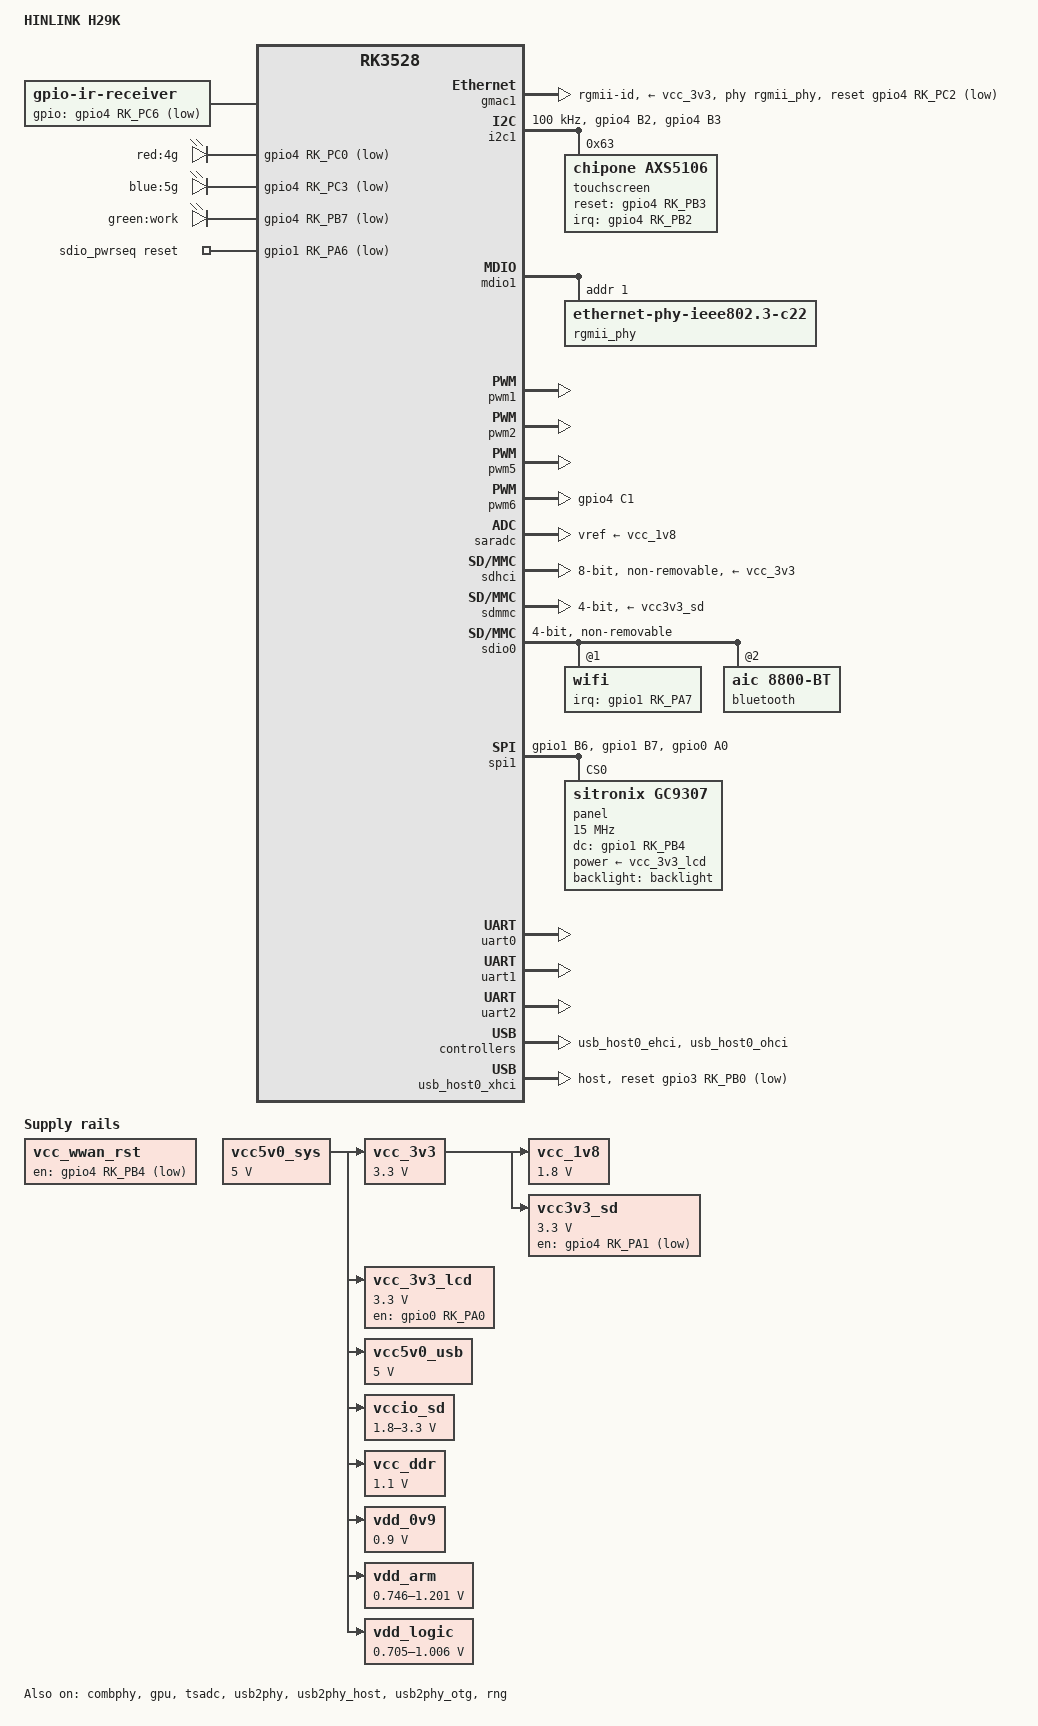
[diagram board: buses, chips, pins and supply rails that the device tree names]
// SPDX-License-Identifier: (GPL-2.0+ OR MIT)

/dts-v1/;
#include <dt-bindings/gpio/gpio.h>
#include <dt-bindings/pinctrl/rockchip.h>

#include "rk3528.dtsi"

/ {
	model = "HINLINK H29K";
	compatible = "hinlink,h29k", "rockchip,rk3528";

	aliases {
		mmc0 = &sdhci;
		mmc1 = &sdmmc;
		mmc2 = &sdio0;
		serial0 = &uart0;
		serial1 = &uart1;
		serial2 = &uart2;
		ethernet0 = &gmac1;

		led-boot = &led_work;
		led-failsafe = &led_work;
		led-running = &led_work;
		led-upgrade = &led_work;
	};

	chosen {
		stdout-path = "serial0:1500000n8";
	};

	ir-receiver {
		compatible = "gpio-ir-receiver";
		gpios = <&gpio4 RK_PC6 GPIO_ACTIVE_LOW>;
		pinctrl-names = "default";
		pinctrl-0 = <&ir_int_pin>;
	};

	leds {
		compatible = "gpio-leds";
		pinctrl-names = "default";
		pinctrl-0 = <&led_4g_en>, <&led_5g_en>, <&led_work_en>;

		4g {
			label = "red:4g";
			gpios = <&gpio4 RK_PC0 GPIO_ACTIVE_LOW>;
		};

		5g {
			label = "blue:5g";
			gpios = <&gpio4 RK_PC3 GPIO_ACTIVE_LOW>;
		};

		led_work: work {
			label = "green:work";
			gpios = <&gpio4 RK_PB7 GPIO_ACTIVE_LOW>;
		};
	};

	sdio_pwrseq: sdio-pwrseq {
		compatible = "mmc-pwrseq-simple";
		pinctrl-names = "default";
		pinctrl-0 = <&wifi_reg_on>;
		post-power-on-delay-ms = <100>;
		power-off-delay-us = <5000000>;
		reset-gpios = <&gpio1 RK_PA6 GPIO_ACTIVE_LOW>;
	};

	rng: rng@ffc50000 {
		compatible = "rockchip,rkrng";
		reg = <0x0 0xffc50000 0x0 0x200>;
		clocks = <&cru HCLK_TRNG_NS>;
		clock-names = "hclk_trng";
		interrupts = <GIC_SPI 23 IRQ_TYPE_LEVEL_HIGH>;
		resets = <&cru SRST_H_TRNG_NS>;
		reset-names = "reset";
		status = "okay";
	};

	vcc_wwan_rst: regulator-wwan-rst {
		compatible = "regulator-fixed";
		regulator-name = "vcc_wwan_rst";
		gpio = <&gpio4 RK_PB4 GPIO_ACTIVE_LOW>;
		pinctrl-names = "default";
		pinctrl-0 = <&wwan_rst_pin>;
		regulator-always-on;
		regulator-boot-on;
		startup-delay-us = <8000000>;
		off-on-delay-us = <700000>;
	};

	vcc5v0_sys: vcc5v0-sys {
		compatible = "regulator-fixed";
		regulator-name = "vcc5v0_sys";
		regulator-always-on;
		regulator-boot-on;
		regulator-min-microvolt = <5000000>;
		regulator-max-microvolt = <5000000>;
	};

	vcc_3v3: vcc-3v3 {
		compatible = "regulator-fixed";
		regulator-name = "vcc_3v3";
		regulator-always-on;
		regulator-boot-on;
		regulator-min-microvolt = <3300000>;
		regulator-max-microvolt = <3300000>;
		vin-supply = <&vcc5v0_sys>;
	};

	vcc_1v8: vcc-1v8 {
		compatible = "regulator-fixed";
		regulator-name = "vcc_1v8";
		regulator-always-on;
		regulator-boot-on;
		regulator-min-microvolt = <1800000>;
		regulator-max-microvolt = <1800000>;
		vin-supply = <&vcc_3v3>;
	};

	vcc_3v3_lcd: vcc-3v3-lcd {
		compatible = "regulator-fixed";
		enable-active-high;
		gpio = <&gpio0 RK_PA0 GPIO_ACTIVE_HIGH>;
		regulator-name = "vcc_3v3_lcd";
		regulator-min-microvolt = <3300000>;
		regulator-max-microvolt = <3300000>;
		regulator-always-on;
		vin-supply = <&vcc5v0_sys>;
	};

	vcc3v3_sd: vcc3v3-sd {
		compatible = "regulator-fixed";
		gpios = <&gpio4 RK_PA1 GPIO_ACTIVE_LOW>;
		pinctrl-names = "default";
		pinctrl-0 = <&sdmmc_pwren_l>;
		regulator-name = "vcc3v3_sd";
		regulator-min-microvolt = <3300000>;
		regulator-max-microvolt = <3300000>;
		vin-supply = <&vcc_3v3>;
	};

	vcc5v0_usb: vcc5v0-usb {
		compatible = "regulator-fixed";
		regulator-name = "vcc5v0_usb";
		regulator-always-on;
		regulator-boot-on;
		regulator-min-microvolt = <5000000>;
		regulator-max-microvolt = <5000000>;
		vin-supply = <&vcc5v0_sys>;
	};

	vccio_sd: vccio-sd {
		compatible = "regulator-gpio";
		gpios = <&gpio4 RK_PB6 GPIO_ACTIVE_HIGH>;
		pinctrl-names = "default";
		pinctrl-0 = <&sdmmc_vol_ctrl_h>;
		regulator-name = "vccio_sd";
		regulator-min-microvolt = <1800000>;
		regulator-max-microvolt = <3300000>;
		states = <1800000 0x0>, <3300000 0x1>;
		vin-supply = <&vcc5v0_sys>;
	};

	vcc_ddr: vcc-ddr {
		compatible = "regulator-fixed";
		regulator-name = "vcc_ddr";
		regulator-always-on;
		regulator-boot-on;
		regulator-min-microvolt = <1100000>;
		regulator-max-microvolt = <1100000>;
		vin-supply = <&vcc5v0_sys>;
	};

	vdd_0v9: vdd-0v9 {
		compatible = "regulator-fixed";
		regulator-name = "vdd_0v9";
		regulator-always-on;
		regulator-boot-on;
		regulator-min-microvolt = <900000>;
		regulator-max-microvolt = <900000>;
		vin-supply = <&vcc5v0_sys>;
	};

	vdd_arm: vdd-arm {
		compatible = "pwm-regulator";
		pwms = <&pwm1 0 5000 1>;
		pwm-supply = <&vcc5v0_sys>;
		regulator-name = "vdd_arm";
		regulator-always-on;
		regulator-boot-on;
		regulator-min-microvolt = <746000>;
		regulator-max-microvolt = <1201000>;
		regulator-settling-time-up-us = <250>;
	};

	vdd_logic: vdd-logic {
		compatible = "pwm-regulator";
		pwms = <&pwm2 0 5000 1>;
		pwm-supply = <&vcc5v0_sys>;
		regulator-name = "vdd_logic";
		regulator-always-on;
		regulator-boot-on;
		regulator-min-microvolt = <705000>;
		regulator-max-microvolt = <1006000>;
		regulator-settling-time-up-us = <250>;
	};
};

&combphy {
	status = "okay";
};

&cpu0 {
	cpu-supply = <&vdd_arm>;
};

&cpu1 {
	cpu-supply = <&vdd_arm>;
};

&cpu2 {
	cpu-supply = <&vdd_arm>;
};

&cpu3 {
	cpu-supply = <&vdd_arm>;
};

&gmac1 {
	clock_in_out = "output";
	phy-handle = <&rgmii_phy>;
	phy-mode = "rgmii-id";
	phy-supply = <&vcc_3v3>;
	pinctrl-names = "default";
	pinctrl-0 = <&rgmii_miim
		     &rgmii_tx_bus2
		     &rgmii_rx_bus2
		     &rgmii_rgmii_clk
		     &rgmii_rgmii_bus>;
	snps,reset-active-low;
	snps,reset-delays-us = <0 20000 100000>;
	snps,reset-gpio = <&gpio4 RK_PC2 GPIO_ACTIVE_LOW>;
	tx_delay = <0x30>;
	rx_delay = <0x10>;
	status = "okay";
};

&gpu {
	mali-supply = <&vdd_logic>;
	status = "okay";
};

&i2c1 {
	pinctrl-names = "default";
	pinctrl-0 = <&i2c1m0_xfer>, <&tp_int_pin>, <&tp_reset_pin>;
	clock-frequency = <100000>;
	status = "okay";

	touchscreen@63 {
		compatible = "chipone,axs5106";
		reg = <0x63>;
		interrupt-parent = <&gpio4>;
		interrupts = <RK_PB2 IRQ_TYPE_EDGE_FALLING>;
		reset-gpios = <&gpio4 RK_PB3 GPIO_ACTIVE_HIGH>;
		touchscreen-size-x = <320>;
		touchscreen-size-y = <172>;
		touchscreen-x-mm = <37>;
		touchscreen-y-mm = <20>;
		touchscreen-swapped-x-y;
		touchscreen-inverted-x;
		touchscreen-inverted-y;
		status = "okay";
	};
};


&mdio1 {
	rgmii_phy: phy@1 {
		compatible = "ethernet-phy-ieee802.3-c22";
		reg = <0x1>;
	};
};

&pinctrl {
	wwan {
		wwan_rst_pin: wwan-rst-pin {
			rockchip,pins = <4 RK_PB4 RK_FUNC_GPIO &pcfg_pull_none>;
		};
	};

	ir {
		ir_int_pin: ir-int-pin {
			rockchip,pins = <4 RK_PC6 RK_FUNC_GPIO &pcfg_pull_up>;
		};
	};

	leds {
		led_4g_en: led-4g-en {
			rockchip,pins = <4 RK_PC0 RK_FUNC_GPIO &pcfg_pull_none>;
		};

		led_5g_en: led-5g-en {
			rockchip,pins = <4 RK_PC3 RK_FUNC_GPIO &pcfg_pull_none>;
		};

		led_work_en: led-work-en {
			rockchip,pins = <4 RK_PB7 RK_FUNC_GPIO &pcfg_pull_none>;
		};
	};

	mmc {
		sdmmc_pwren_l: sdmmc-pwren-l {
			rockchip,pins = <4 RK_PA1 RK_FUNC_GPIO &pcfg_pull_none>;
		};

		sdmmc_vol_ctrl_h: sdmmc-vol-ctrl-h {
			rockchip,pins = <4 RK_PB6 RK_FUNC_GPIO &pcfg_pull_none>;
		};
	};

	spi1 {
		spi1_pins: spi1-pins {
			rockchip,pins =
				<1 RK_PB6 2 &pcfg_pull_none_drv_level_2>,
				<1 RK_PB7 2 &pcfg_pull_none_drv_level_2>;
		};

		lcd_rs_pin: lcd-rs-pin {
			rockchip,pins = <1 RK_PB4 RK_FUNC_GPIO &pcfg_pull_up>;
		};

		lcd_backlight_pin: lcd-backlight-pin {
			rockchip,pins = <0 RK_PA0 RK_FUNC_GPIO &pcfg_pull_up>;
		};
	};

	wifi {
		wifi_reg_on: wifi-reg-on {
			rockchip,pins = <1 RK_PA6 RK_FUNC_GPIO &pcfg_pull_none>;
		};

		wl_wake_host: wl-wake-host {
			rockchip,pins = <1 RK_PA7 RK_FUNC_GPIO &pcfg_pull_down>;
		};
	};
	
	touchscreen {
		tp_int_pin: tp-int-pin {
			rockchip,pins = <4 RK_PB2 RK_FUNC_GPIO &pcfg_pull_up>;
		};

		tp_reset_pin: tp-reset-pin {
			rockchip,pins = <4 RK_PB3 RK_FUNC_GPIO &pcfg_pull_up>;
		};
	};

	pwmpanel {
		panel_pwm_pin: panel-pwm-pin {
			/* GPIO4_PC1 功能 1 = PWM6 */
			rockchip,pins = <4 RK_PC1 1 &pcfg_pull_none>;
		};
	};

	backlight: backlight {
		pinctrl-names = "backlight";
		compatible = "pwm-backlight";
		pwms = <&pwm6 0 25000 1>;
		brightness-levels = <
			  0   1   2   3   4   5   6   7
			  8   9  10  11  12  13  14  15
			 16  17  18  19  20  21  22  23
			 24  25  26  27  28  29  30  31
			 32  33  34  35  36  37  38  39
			 40  41  42  43  44  45  46  47
			 48  49  50  51  52  53  54  55
			 56  57  58  59  60  61  62  63
			 64  65  66  67  68  69  70  71
			 72  73  74  75  76  77  78  79
			 80  81  82  83  84  85  86  87
			 88  89  90  91  92  93  94  95
			 96  97  98  99 100 101 102 103
			104 105 106 107 108 109 110 111
			112 113 114 115 116 117 118 119
			120 121 122 123 124 125 126 127
			128 129 130 131 132 133 134 135
			136 137 138 139 140 141 142 143
			144 145 146 147 148 149 150 151
			152 153 154 155 156 157 158 159
			160 161 162 163 164 165 166 167
			168 169 170 171 172 173 174 175
			176 177 178 179 180 181 182 183
			184 185 186 187 188 189 190 191
			192 193 194 195 196 197 198 199
			200 201 202 203 204 205 206 207
			208 209 210 211 212 213 214 215
			216 217 218 219 220 221 222 223
			224 225 226 227 228 229 230 231
			232 233 234 235 236 237 238 239
			240 241 242 243 244 245 246 247
			248 249 250 251 252 253 254 255>;
		default-brightness-level = <200>;
	};
};

&pwm1 {
	pinctrl-names = "default";
	pinctrl-0 = <&pwm1m0_pins>;
	status = "okay";
};

&pwm2 {
	pinctrl-names = "default";
	pinctrl-0 = <&pwm2m0_pins>;
	status = "okay";
};

&pwm5 {
	pinctrl-names = "default";
	pinctrl-0 = <&pwm5m1_pins>;
	status = "okay";
};

&pwm6 {
	pinctrl-names = "default";
	pinctrl-0 = <&panel_pwm_pin>;
	assigned-clock-rates = <100000000>;
	status = "okay";
};

&saradc {
	vref-supply = <&vcc_1v8>;
	status = "okay";
};

&sdhci {
	bus-width = <8>;
	cap-mmc-highspeed;
	mmc-hs200-1_8v;
	no-mmc-hs400;
	max-frequency = <150000000>;
	non-removable;
	vmmc-supply = <&vcc_3v3>;
	vqmmc-supply = <&vcc_1v8>;
	status = "okay";
};

&sdmmc {
	bus-width = <4>;
	cap-sd-highspeed;
	disable-wp;
	sd-uhs-sdr104;
	vmmc-supply = <&vcc3v3_sd>;
	vqmmc-supply = <&vccio_sd>;
	status = "okay";
};

&sdio0 {
	#address-cells = <1>;
	#size-cells = <0>;
	bus-width = <4>;
	cap-sd-highspeed;
	cap-sdio-irq;
	keep-power-in-suspend;
	mmc-pwrseq = <&sdio_pwrseq>;
	non-removable;
	sd-uhs-sdr104;
	status = "okay";

	wifi@1 {
		reg = <1>;
		interrupt-parent = <&gpio1>;
		interrupts = <RK_PA7 IRQ_TYPE_LEVEL_HIGH>;
		interrupt-names = "host-wake";
		pinctrl-names = "default";
		pinctrl-0 = <&wl_wake_host>;
	};

	bluetooth@2 {
		compatible = "aic,8800-bt";
		reg = <2>;
		status = "okay";
	};
};

&spi1 {
	pinctrl-names = "default";
	pinctrl-0 = <&spi1_pins &lcd_backlight_pin>;
	status = "okay";

	panel@0 {
		compatible = "sitronix,gc9307", "panel-mipi-dbi-spi";
		reg = <0>;
		spi-cpol;
		spi-cpha;
		spi-max-frequency = <15000000>;
		dc-gpios = <&gpio1 RK_PB4 GPIO_ACTIVE_HIGH>;
		write-only;
		format = "r5g6b5";
		backlight = <&backlight>;
		power-supply = <&vcc_3v3_lcd>;
		width-mm = <20>;
		height-mm = <37>;
		pinctrl-names = "default";
		pinctrl-0 = <&lcd_rs_pin>;

		panel-timing {
			hactive = <320>;
			vactive = <172>;
			hback-porch = <0>;
			vback-porch = <34>;
			clock-frequency = <0>;
			hfront-porch = <0>;
			hsync-len = <0>;
			vfront-porch = <0>;
			vsync-len = <0>;
		};
	};
};

&tsadc {
	status = "okay";
};

&uart0 {
	pinctrl-names = "default";
	pinctrl-0 = <&uart0m0_xfer>;
	status = "okay";
};

&uart1 {
	pinctrl-names = "default";
	pinctrl-0 = <&uart1m0_xfer>;
	status = "okay";
};

&uart2 {
	pinctrl-names = "default";
	pinctrl-0 = <&uart2m1_ctsn &uart2m1_xfer>;
	status = "okay";
};

&usb2phy {
	status = "okay";
};

&usb2phy_host {
	phy-supply = <&vcc5v0_usb>;
	status = "okay";
};

&usb2phy_otg {
	phy-supply = <&vcc5v0_usb>;
	status = "okay";
};

&usb_host0_ehci {
	status = "okay";
};

&usb_host0_ohci {
	status = "okay";
};

&usb_host0_xhci {
	dr_mode = "host";
	reset-gpios = <&gpio3 RK_PB0 GPIO_ACTIVE_LOW>;
	reset-assert-us = <500>;
	reset-deassert-us = <30000>;
	status = "okay";
};
